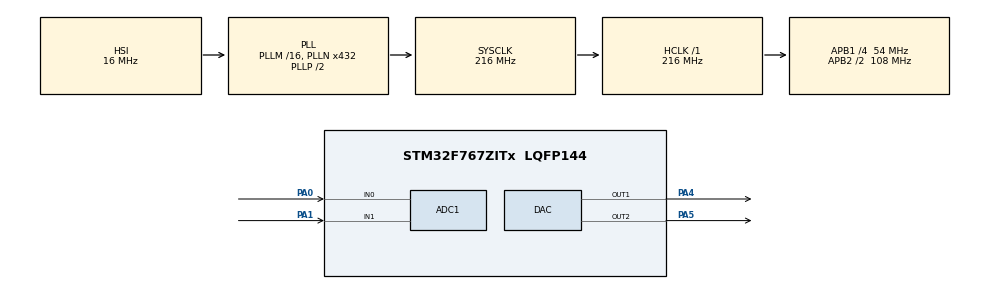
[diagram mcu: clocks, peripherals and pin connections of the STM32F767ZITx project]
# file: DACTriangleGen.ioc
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ADC1.Channel-0\#ChannelRegularConversion=ADC_CHANNEL_0
ADC1.ContinuousConvMode=ENABLE
ADC1.DMAContinuousRequests=ENABLE
ADC1.NbrOfConversion=1
ADC1.NbrOfConversionFlag=1
ADC1.Rank-0\#ChannelRegularConversion=1
ADC1.SamplingTime-0\#ChannelRegularConversion=ADC_SAMPLETIME_3CYCLES
ADC1.ScanConvMode=ADC_SCAN_ENABLE
ADC1.master=1
DAC.DAC_OutputBuffer=DAC_OUTPUTBUFFER_ENABLE
DAC.DAC_OutputBuffer2=DAC_OUTPUTBUFFER_ENABLE
DAC.DAC_Trigger=DAC_TRIGGER_T6_TRGO
DAC.DAC_Trigger2=DAC_TRIGGER_T6_TRGO
DAC.TriangleAmplitude2=DAC_TRIANGLEAMPLITUDE_4095
DAC.WaveGeneration=DISABLE
DAC.WaveGeneration2=TriangleWaveGeneration
Dma.ADC1.0.Direction=DMA_PERIPH_TO_MEMORY
Dma.ADC1.0.FIFOMode=DMA_FIFOMODE_DISABLE
Dma.ADC1.0.Instance=DMA2_Stream0
Dma.ADC1.0.MemDataAlignment=DMA_MDATAALIGN_WORD
Dma.ADC1.0.MemInc=DMA_MINC_ENABLE
Dma.ADC1.0.Mode=DMA_CIRCULAR
Dma.ADC1.0.PeriphDataAlignment=DMA_PDATAALIGN_WORD
Dma.ADC1.0.PeriphInc=DMA_PINC_DISABLE
Dma.ADC1.0.Priority=DMA_PRIORITY_HIGH
Dma.DAC1.1.Direction=DMA_MEMORY_TO_PERIPH
Dma.DAC1.1.FIFOMode=DMA_FIFOMODE_DISABLE
Dma.DAC1.1.Instance=DMA1_Stream5
Dma.DAC1.1.MemDataAlignment=DMA_MDATAALIGN_WORD
Dma.DAC1.1.MemInc=DMA_MINC_ENABLE
Dma.DAC1.1.Mode=DMA_CIRCULAR
Dma.DAC1.1.PeriphDataAlignment=DMA_PDATAALIGN_WORD
Dma.DAC1.1.PeriphInc=DMA_PINC_DISABLE
Dma.DAC1.1.Priority=DMA_PRIORITY_MEDIUM
Dma.Request0=ADC1
Dma.Request1=DAC1
Mcu.Family=STM32F7
Mcu.Name=STM32F767ZITx
Mcu.Package=LQFP144
NVIC.DMA1_Stream5_IRQn=true\:0\:0\:false\:false\:true\:false
NVIC.DMA2_Stream0_IRQn=true\:0\:0\:false\:false\:true\:false
NVIC.PriorityGroup=NVIC_PRIORITYGROUP_4
PA0/WKUP.Signal=ADCx_IN0
PA1.Signal=ADCx_IN1
PA4.Signal=COMP_DAC1_group
PA5.Signal=COMP_DAC2_group
ProjectManager.HeapSize=0x200
ProjectManager.StackSize=0x400
ProjectManager.TargetToolchain=TrueSTUDIO
RCC.AHBFreq_Value=216000000
RCC.APB1CLKDivider=RCC_HCLK_DIV4
RCC.APB1Freq_Value=54000000
RCC.APB1TimFreq_Value=108000000
RCC.APB2CLKDivider=RCC_HCLK_DIV2
RCC.APB2Freq_Value=108000000
RCC.APB2TimFreq_Value=216000000
RCC.CortexFreq_Value=216000000
RCC.HCLKFreq_Value=216000000
RCC.HSE_VALUE=25000000
RCC.HSI_VALUE=16000000
RCC.LSE_VALUE=32768
RCC.PLLN=432
RCC.SYSCLKFreq_VALUE=216000000
RCC.SYSCLKSource=RCC_SYSCLKSOURCE_PLLCLK
RCC.USBFreq_Value=216000000
RCC.VCOOutputFreq_Value=432000000
SH.ADCx_IN0.0=ADC1_IN0,IN0
SH.ADCx_IN1.0=ADC1_IN1,IN1
SH.COMP_DAC1_group.0=DAC_OUT1,DAC_OUT1
SH.COMP_DAC2_group.0=DAC_OUT2,DAC_OUT2
TIM6.Period=4
TIM6.TIM_MasterOutputTrigger=TIM_TRGO_UPDATE
VP_TIM6_VS_ClockSourceINT.Mode=Enable_Timer
board=custom

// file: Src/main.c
/**
  ******************************************************************************
  * @file           : main.c
  * @brief          : Main program body
  ******************************************************************************
  ** This notice applies to any and all portions of this file
  * that are not between comment pairs USER CODE BEGIN and
  * USER CODE END. Other portions of this file, whether
  * inserted by the user or by software development tools
  * are owned by their respective copyright owners.
  *
  * COPYRIGHT(c) 2019 STMicroelectronics
  *
  * Redistribution and use in source and binary forms, with or without modification,
  * are permitted provided that the following conditions are met:
  *   1. Redistributions of source code must retain the above copyright notice,
  *      this list of conditions and the following disclaimer.
  *   2. Redistributions in binary form must reproduce the above copyright notice,
  *      this list of conditions and the following disclaimer in the documentation
  *      and/or other materials provided with the distribution.
  *   3. Neither the name of STMicroelectronics nor the names of its contributors
  *      may be used to endorse or promote products derived from this software
  *      without specific prior written permission.
  *
  * THIS SOFTWARE IS PROVIDED BY THE COPYRIGHT HOLDERS AND CONTRIBUTORS "AS IS"
  * AND ANY EXPRESS OR IMPLIED WARRANTIES, INCLUDING, BUT NOT LIMITED TO, THE
  * IMPLIED WARRANTIES OF MERCHANTABILITY AND FITNESS FOR A PARTICULAR PURPOSE ARE
  * DISCLAIMED. IN NO EVENT SHALL THE COPYRIGHT HOLDER OR CONTRIBUTORS BE LIABLE
  * FOR ANY DIRECT, INDIRECT, INCIDENTAL, SPECIAL, EXEMPLARY, OR CONSEQUENTIAL
  * DAMAGES (INCLUDING, BUT NOT LIMITED TO, PROCUREMENT OF SUBSTITUTE GOODS OR
  * SERVICES; LOSS OF USE, DATA, OR PROFITS; OR BUSINESS INTERRUPTION) HOWEVER
  * CAUSED AND ON ANY THEORY OF LIABILITY, WHETHER IN CONTRACT, STRICT LIABILITY,
  * OR TORT (INCLUDING NEGLIGENCE OR OTHERWISE) ARISING IN ANY WAY OUT OF THE USE
  * OF THIS SOFTWARE, EVEN IF ADVISED OF THE POSSIBILITY OF SUCH DAMAGE.
  *
  ******************************************************************************
  */
#include "main.h"
#include "stm32f7xx_hal.h"
#include "adc.h"
#include "dac.h"
#include "dma.h"
#include "tim.h"
#include "gpio.h"

/* USER CODE BEGIN Includes */
#include <stdio.h>

uint32_t adc_input_data[128];
uint32_t sine_wave_array_128[128] = {
		2047,2147,2248,2347,2446,2544,2641,2737,
		2830,2922,3012,3099,3184,3266,3346,3422,
		3494,3564,3629,3691,3749,3803,3852,3897,
		3938,3974,4006,4033,4055,4072,4084,4092,
		4094,4092,4084,4072,4055,4033,4006,3974,
		3938,3897,3852,3803,3749,3691,3629,3564,
		3494,3422,3346,3266,3184,3099,3012,2922,
		2830,2737,2641,2544,2446,2347,2248,2147,
		2047,1947,1846,1747,1648,1550,1453,1357,
		1264,1172,1082,995,910,828,748,672,
		600,530,465,403,345,291,242,197,
		156,120,88,61,39,22,10,2,
		0,2,10,22,39,61,88,120,
		156,197,242,291,345,403,465,530,
		600,672,748,828,910,995,1082,1172,
		1264,1357,1453,1550,1648,1747,1846,1947};
/* USER CODE END Includes */

/* USER CODE BEGIN PV */
/* Private variables ---------------------------------------------------------*/

/* USER CODE END PV */

void SystemClock_Config(void);

/* USER CODE BEGIN PFP */
/* Private function prototypes -----------------------------------------------*/

/* USER CODE END PFP */

int main(void)
{

  /* MCU Configuration----------------------------------------------------------*/

  /* Reset of all peripherals, Initializes the Flash interface and the Systick. */
  HAL_Init();

  /* Configure the system clock */
  SystemClock_Config();

  /* Initialize all configured peripherals */
  MX_GPIO_Init();
  MX_DMA_Init();
  MX_DAC_Init();
  MX_ADC1_Init();
  MX_TIM6_Init();
  /* USER CODE BEGIN 2 */

  // DAC output triangle wave
  //HAL_TIM_Base_Start_IT(&htim6);
  //HAL_DAC_Start(&hdac, DAC_CHANNEL_1);

  // DAC output sine lookup table
  //HAL_TIM_Base_Start_IT(&htim6);
  //HAL_DAC_Start_DMA(&hdac, DAC_CHANNEL_1, sine_wave_array_128, 128, DAC_ALIGN_12B_R );

  // ADC DMA input capture only
  //HAL_ADC_Start_DMA(&hadc1,adc_input_data, 128);

  // ADC DMA input capture -> DAC output
  HAL_TIM_Base_Start_IT(&htim6);
  HAL_ADC_Start_DMA(&hadc1,adc_input_data, 128);
  HAL_DAC_Start_DMA(&hdac, DAC_CHANNEL_1, adc_input_data, 128, DAC_ALIGN_12B_R );

  /* USER CODE END 2 */

  /* Infinite loop */
  /* USER CODE BEGIN WHILE */
  while (1)
  {
	  printf("Hello\n");
  /* USER CODE END WHILE */

  }

}

void SystemClock_Config(void)
{

  RCC_OscInitTypeDef RCC_OscInitStruct;
  RCC_ClkInitTypeDef RCC_ClkInitStruct;

    /**Configure the main internal regulator output voltage
    */
  __HAL_RCC_PWR_CLK_ENABLE();

  __HAL_PWR_VOLTAGESCALING_CONFIG(PWR_REGULATOR_VOLTAGE_SCALE1);

    /**Initializes the CPU, AHB and APB busses clocks
    */
  RCC_OscInitStruct.OscillatorType = RCC_OSCILLATORTYPE_HSI;
  RCC_OscInitStruct.HSIState = RCC_HSI_ON;
  RCC_OscInitStruct.HSICalibrationValue = 16;
  RCC_OscInitStruct.PLL.PLLState = RCC_PLL_ON;
  RCC_OscInitStruct.PLL.PLLSource = RCC_PLLSOURCE_HSI;
  RCC_OscInitStruct.PLL.PLLM = 16;
  RCC_OscInitStruct.PLL.PLLN = 432;
  RCC_OscInitStruct.PLL.PLLP = RCC_PLLP_DIV2;
  RCC_OscInitStruct.PLL.PLLQ = 2;
  if (HAL_RCC_OscConfig(&RCC_OscInitStruct) != HAL_OK)
  {
    _Error_Handler(__FILE__, __LINE__);
  }

    /**Activate the Over-Drive mode
    */
  if (HAL_PWREx_EnableOverDrive() != HAL_OK)
  {
    _Error_Handler(__FILE__, __LINE__);
  }

    /**Initializes the CPU, AHB and APB busses clocks
    */
  RCC_ClkInitStruct.ClockType = RCC_CLOCKTYPE_HCLK|RCC_CLOCKTYPE_SYSCLK
                              |RCC_CLOCKTYPE_PCLK1|RCC_CLOCKTYPE_PCLK2;
  RCC_ClkInitStruct.SYSCLKSource = RCC_SYSCLKSOURCE_PLLCLK;
  RCC_ClkInitStruct.AHBCLKDivider = RCC_SYSCLK_DIV1;
  RCC_ClkInitStruct.APB1CLKDivider = RCC_HCLK_DIV4;
  RCC_ClkInitStruct.APB2CLKDivider = RCC_HCLK_DIV2;

  if (HAL_RCC_ClockConfig(&RCC_ClkInitStruct, FLASH_LATENCY_7) != HAL_OK)
  {
    _Error_Handler(__FILE__, __LINE__);
  }

    /**Configure the Systick interrupt time
    */
  HAL_SYSTICK_Config(HAL_RCC_GetHCLKFreq()/1000);

    /**Configure the Systick
    */
  HAL_SYSTICK_CLKSourceConfig(SYSTICK_CLKSOURCE_HCLK);

  /* SysTick_IRQn interrupt configuration */
  HAL_NVIC_SetPriority(SysTick_IRQn, 0, 0);
}

void _Error_Handler(char *file, int line)
{
  while(1)
  {
  }
}

/************************ (C) COPYRIGHT STMicroelectronics *****END OF FILE****/
